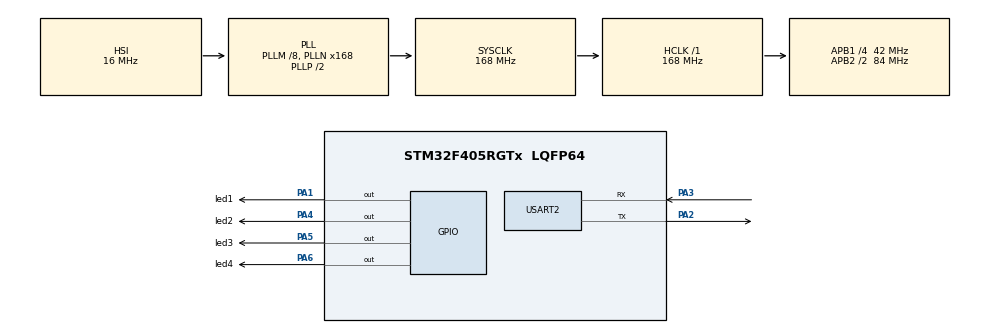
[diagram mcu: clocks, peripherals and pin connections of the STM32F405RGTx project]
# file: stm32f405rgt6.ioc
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Mcu.Family=STM32F4
Mcu.Name=STM32F405RGTx
Mcu.Package=LQFP64
NVIC.PriorityGroup=NVIC_PRIORITYGROUP_4
PA1.GPIO_Label=led1
PA1.Signal=GPIO_Output
PA2.Mode=Asynchronous
PA2.Signal=USART2_TX
PA3.Mode=Asynchronous
PA3.Signal=USART2_RX
PA4.GPIO_Label=led2
PA4.Signal=GPIO_Output
PA5.GPIO_Label=led3
PA5.Signal=GPIO_Output
PA6.GPIO_Label=led4
PA6.Signal=GPIO_Output
PH0-OSC_IN.Mode=HSE-External-Oscillator
PH0-OSC_IN.Signal=RCC_OSC_IN
PH1-OSC_OUT.Mode=HSE-External-Oscillator
PH1-OSC_OUT.Signal=RCC_OSC_OUT
ProjectManager.HeapSize=0x200
ProjectManager.StackSize=0x400
ProjectManager.TargetToolchain=STM32CubeIDE
RCC.48MHZClocksFreq_Value=84000000
RCC.AHBFreq_Value=168000000
RCC.APB1CLKDivider=RCC_HCLK_DIV4
RCC.APB1Freq_Value=42000000
RCC.APB1TimFreq_Value=84000000
RCC.APB2CLKDivider=RCC_HCLK_DIV2
RCC.APB2Freq_Value=84000000
RCC.APB2TimFreq_Value=168000000
RCC.CortexFreq_Value=168000000
RCC.HCLKFreq_Value=168000000
RCC.HSE_VALUE=25000000
RCC.HSI_VALUE=16000000
RCC.LSE_VALUE=32768
RCC.PLLM=8
RCC.PLLN=168
RCC.SYSCLKFreq_VALUE=168000000
RCC.SYSCLKSource=RCC_SYSCLKSOURCE_PLLCLK
RCC.VCOOutputFreq_Value=336000000
USART2.VirtualMode=VM_ASYNC
board=custom

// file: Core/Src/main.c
/* USER CODE BEGIN Header */
/**
  ******************************************************************************
  * @file           : main.c
  * @brief          : Main program body
  ******************************************************************************
  * @attention
  *
  * Copyright (c) 2025 STMicroelectronics.
  * All rights reserved.
  *
  * This software is licensed under terms that can be found in the LICENSE file
  * in the root directory of this software component.
  * If no LICENSE file comes with this software, it is provided AS-IS.
  *
  ******************************************************************************
  */
/* USER CODE END Header */
#include "main.h"

/* USER CODE BEGIN Includes */
#include <stdio.h>
#include <stdlib.h>
#include <string.h>
/* USER CODE END Includes */

UART_HandleTypeDef huart2;

void SystemClock_Config(void);
static void MX_GPIO_Init(void);
static void MX_USART2_UART_Init(void);

/* USER CODE BEGIN 0 */
uint8_t data;

/* USER CODE END 0 */

int main(void)
{

  /* MCU Configuration--------------------------------------------------------*/

  /* Reset of all peripherals, Initializes the Flash interface and the Systick. */
  HAL_Init();

  /* Configure the system clock */
  SystemClock_Config();

  /* Initialize all configured peripherals */
  MX_GPIO_Init();
  MX_USART2_UART_Init();
  /* USER CODE BEGIN 2 */
  char move_forward[] = "robot move forward\n";
  char move_reverse[] = "robot move reverse\n";
  char move_left[] = "robot move left\n";
  char move_right[] = "robot move right\n";
  char move_stop[] = "robot stop\n";
  /* USER CODE END 2 */

  /* Infinite loop */
  /* USER CODE BEGIN WHILE */
  while (1)
  {
	  if (HAL_UART_Receive(&huart2, &data, 1, 100) == HAL_OK) {
	      switch(data) {
	      case '1':
	    	  HAL_GPIO_WritePin(led1_GPIO_Port, led1_Pin, GPIO_PIN_SET);
	          HAL_GPIO_WritePin(led2_GPIO_Port, led2_Pin, GPIO_PIN_RESET);
	          HAL_GPIO_WritePin(led3_GPIO_Port, led3_Pin, GPIO_PIN_RESET);
	          HAL_GPIO_WritePin(led4_GPIO_Port, led4_Pin, GPIO_PIN_RESET);
	          HAL_UART_Transmit(&huart2, (uint8_t*)move_forward, strlen(move_forward), 100);
	          break;
	      case '2':
	    	  HAL_GPIO_WritePin(led1_GPIO_Port, led1_Pin, GPIO_PIN_RESET);
	          HAL_GPIO_WritePin(led2_GPIO_Port, led2_Pin, GPIO_PIN_SET);
	          HAL_GPIO_WritePin(led3_GPIO_Port, led3_Pin, GPIO_PIN_RESET);
	          HAL_GPIO_WritePin(led4_GPIO_Port, led4_Pin, GPIO_PIN_RESET);
	      	  HAL_UART_Transmit(&huart2, (uint8_t*)move_reverse, strlen(move_reverse), 100);
              break;
	      case '3':
	    	  HAL_GPIO_WritePin(led1_GPIO_Port, led1_Pin, GPIO_PIN_RESET);
	          HAL_GPIO_WritePin(led2_GPIO_Port, led2_Pin, GPIO_PIN_RESET);
	          HAL_GPIO_WritePin(led3_GPIO_Port, led3_Pin, GPIO_PIN_SET);
	          HAL_GPIO_WritePin(led4_GPIO_Port, led4_Pin, GPIO_PIN_RESET);
	      	  HAL_UART_Transmit(&huart2, (uint8_t*)move_left, strlen(move_left), 100);
	      	  break;
	      case '4':
	    	  HAL_GPIO_WritePin(led1_GPIO_Port, led1_Pin, GPIO_PIN_RESET);
	          HAL_GPIO_WritePin(led2_GPIO_Port, led2_Pin, GPIO_PIN_RESET);
	          HAL_GPIO_WritePin(led3_GPIO_Port, led3_Pin, GPIO_PIN_RESET);
	          HAL_GPIO_WritePin(led4_GPIO_Port, led4_Pin, GPIO_PIN_SET);
	      	  HAL_UART_Transmit(&huart2, (uint8_t*)move_right, strlen(move_right), 100);
              break;
	      case '5':
	    	  HAL_GPIO_WritePin(led1_GPIO_Port, led1_Pin, GPIO_PIN_RESET);
	          HAL_GPIO_WritePin(led2_GPIO_Port, led2_Pin, GPIO_PIN_RESET);
	          HAL_GPIO_WritePin(led3_GPIO_Port, led3_Pin, GPIO_PIN_RESET);
	          HAL_GPIO_WritePin(led4_GPIO_Port, led4_Pin, GPIO_PIN_RESET);
	      	  HAL_UART_Transmit(&huart2, (uint8_t*)move_stop, strlen(move_stop), 100);
              break;
	      }
    }
  /* USER CODE END WHILE */

  }
}

void SystemClock_Config(void)
{
  RCC_OscInitTypeDef RCC_OscInitStruct = {0};
  RCC_ClkInitTypeDef RCC_ClkInitStruct = {0};

  /** Configure the main internal regulator output voltage
  */
  __HAL_RCC_PWR_CLK_ENABLE();
  __HAL_PWR_VOLTAGESCALING_CONFIG(PWR_REGULATOR_VOLTAGE_SCALE1);

  /** Initializes the RCC Oscillators according to the specified parameters
  * in the RCC_OscInitTypeDef structure.
  */
  RCC_OscInitStruct.OscillatorType = RCC_OSCILLATORTYPE_HSI;
  RCC_OscInitStruct.HSIState = RCC_HSI_ON;
  RCC_OscInitStruct.HSICalibrationValue = RCC_HSICALIBRATION_DEFAULT;
  RCC_OscInitStruct.PLL.PLLState = RCC_PLL_ON;
  RCC_OscInitStruct.PLL.PLLSource = RCC_PLLSOURCE_HSI;
  RCC_OscInitStruct.PLL.PLLM = 8;
  RCC_OscInitStruct.PLL.PLLN = 168;
  RCC_OscInitStruct.PLL.PLLP = RCC_PLLP_DIV2;
  RCC_OscInitStruct.PLL.PLLQ = 4;
  if (HAL_RCC_OscConfig(&RCC_OscInitStruct) != HAL_OK)
  {
    Error_Handler();
  }

  /** Initializes the CPU, AHB and APB buses clocks
  */
  RCC_ClkInitStruct.ClockType = RCC_CLOCKTYPE_HCLK|RCC_CLOCKTYPE_SYSCLK
                              |RCC_CLOCKTYPE_PCLK1|RCC_CLOCKTYPE_PCLK2;
  RCC_ClkInitStruct.SYSCLKSource = RCC_SYSCLKSOURCE_PLLCLK;
  RCC_ClkInitStruct.AHBCLKDivider = RCC_SYSCLK_DIV1;
  RCC_ClkInitStruct.APB1CLKDivider = RCC_HCLK_DIV4;
  RCC_ClkInitStruct.APB2CLKDivider = RCC_HCLK_DIV2;

  if (HAL_RCC_ClockConfig(&RCC_ClkInitStruct, FLASH_LATENCY_5) != HAL_OK)
  {
    Error_Handler();
  }
}

static void MX_USART2_UART_Init(void)
{

  huart2.Instance = USART2;
  huart2.Init.BaudRate = 115200;
  huart2.Init.WordLength = UART_WORDLENGTH_8B;
  huart2.Init.StopBits = UART_STOPBITS_1;
  huart2.Init.Parity = UART_PARITY_NONE;
  huart2.Init.Mode = UART_MODE_TX_RX;
  huart2.Init.HwFlowCtl = UART_HWCONTROL_NONE;
  huart2.Init.OverSampling = UART_OVERSAMPLING_16;
  if (HAL_UART_Init(&huart2) != HAL_OK)
  {
    Error_Handler();
  }

}

static void MX_GPIO_Init(void)
{
  GPIO_InitTypeDef GPIO_InitStruct = {0};

  /* GPIO Ports Clock Enable */
  __HAL_RCC_GPIOH_CLK_ENABLE();
  __HAL_RCC_GPIOA_CLK_ENABLE();

  /*Configure GPIO pin Output Level */
  HAL_GPIO_WritePin(GPIOA, led1_Pin|led2_Pin|led3_Pin|led4_Pin, GPIO_PIN_RESET);

  /*Configure GPIO pins : led1_Pin led2_Pin led3_Pin led4_Pin */
  GPIO_InitStruct.Pin = led1_Pin|led2_Pin|led3_Pin|led4_Pin;
  GPIO_InitStruct.Mode = GPIO_MODE_OUTPUT_PP;
  GPIO_InitStruct.Pull = GPIO_NOPULL;
  GPIO_InitStruct.Speed = GPIO_SPEED_FREQ_LOW;
  HAL_GPIO_Init(GPIOA, &GPIO_InitStruct);

}

void Error_Handler(void)
{
  __disable_irq();
  while (1)
  {
  }
}
